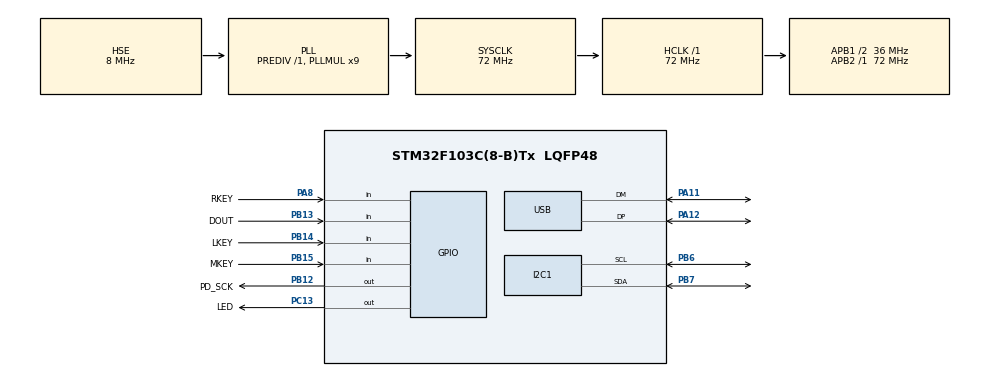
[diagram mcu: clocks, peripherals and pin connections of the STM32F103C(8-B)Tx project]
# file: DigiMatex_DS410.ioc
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I2C1.I2C_Mode=I2C_Fast
Mcu.Family=STM32F1
Mcu.Name=STM32F103C(8-B)Tx
Mcu.Package=LQFP48
NVIC.PriorityGroup=NVIC_PRIORITYGROUP_4
NVIC.USB_LP_CAN1_RX0_IRQn=true\:0\:0\:false\:false\:true\:false\:true
PA11.Mode=Device
PA11.Signal=USB_DM
PA12.Mode=Device
PA12.Signal=USB_DP
PA13.Mode=Serial_Wire
PA13.Signal=SYS_JTMS-SWDIO
PA14.Mode=Serial_Wire
PA14.Signal=SYS_JTCK-SWCLK
PA8.GPIO_Label=RKEY
PA8.Signal=GPIO_Input
PB12.GPIO_Label=PD_SCK
PB12.Signal=GPIO_Output
PB13.GPIO_Label=DOUT
PB13.Signal=GPIO_Input
PB14.GPIO_Label=LKEY
PB14.Signal=GPIO_Input
PB15.GPIO_Label=MKEY
PB15.Signal=GPIO_Input
PB6.Mode=I2C
PB6.Signal=I2C1_SCL
PB7.Mode=I2C
PB7.Signal=I2C1_SDA
PC13-TAMPER-RTC.GPIO_Label=LED
PC13-TAMPER-RTC.PinState=GPIO_PIN_SET
PC13-TAMPER-RTC.Signal=GPIO_Output
PC14-OSC32_IN.Mode=LSE-External-Oscillator
PC14-OSC32_IN.Signal=RCC_OSC32_IN
PC15-OSC32_OUT.Mode=LSE-External-Oscillator
PC15-OSC32_OUT.Signal=RCC_OSC32_OUT
PD0-OSC_IN.Mode=HSE-External-Oscillator
PD0-OSC_IN.Signal=RCC_OSC_IN
PD1-OSC_OUT.Mode=HSE-External-Oscillator
PD1-OSC_OUT.Signal=RCC_OSC_OUT
ProjectManager.HeapSize=0x400
ProjectManager.StackSize=0x400
ProjectManager.TargetToolchain=STM32CubeIDE
RCC.AHBFreq_Value=72000000
RCC.APB1CLKDivider=RCC_HCLK_DIV2
RCC.APB1Freq_Value=36000000
RCC.APB1TimFreq_Value=72000000
RCC.APB2Freq_Value=72000000
RCC.APB2TimFreq_Value=72000000
RCC.HCLKFreq_Value=72000000
RCC.PLLMUL=RCC_PLL_MUL9
RCC.PLLSourceVirtual=RCC_PLLSOURCE_HSE
RCC.SYSCLKFreq_VALUE=72000000
RCC.SYSCLKSource=RCC_SYSCLKSOURCE_PLLCLK
RCC.USBFreq_Value=48000000
RCC.USBPrescaler=RCC_USBCLKSOURCE_PLL_DIV1_5
USB_DEVICE.CLASS_NAME_FS=CDC
USB_DEVICE.VirtualMode=Cdc
USB_DEVICE.VirtualModeFS=Cdc_FS
VP_USB_DEVICE_VS_USB_DEVICE_CDC_FS.Mode=CDC_FS
board=custom

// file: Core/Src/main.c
/* USER CODE BEGIN Header */
/**
 ******************************************************************************
 * @file           : main.c
 * @brief          : Main program body
 ******************************************************************************
 * @attention
 *
 * <h2><center>&copy; Copyright (c) 2020 STMicroelectronics.
 * All rights reserved.</center></h2>
 *
 * This software component is licensed by ST under BSD 3-Clause license,
 * the "License"; You may not use this file except in compliance with the
 * License. You may obtain a copy of the License at:
 *                        opensource.org/licenses/BSD-3-Clause
 *
 ******************************************************************************
 */
/* USER CODE END Header */

#include "main.h"
#include "i2c.h"
#include "usb_device.h"
#include "gpio.h"

/* USER CODE BEGIN Includes */
#include "stdio.h"
#include "stdbool.h"
#include "usbd_cdc_if.h"

#include "ssd1306.h"
#include "ssd1306_fonts.h"
#include "hx711.h"
#include "eeprom_24LC02B.h"

/* USER CODE END Includes */

/* USER CODE BEGIN PD */
#define STR_BUFFER_SIZE 10
#define BUFFER_SIZE	15

#define EEPROM_P1_VALUE_ADDR 	0
#define EEPROM_P1_ENG_ADDR		8
#define EEPROM_P2_VALUE_ADDR 	16
#define EEPROM_P2_ENG_ADDR		24

#define STR_ENDLINE 	"\r\n"

/* USER CODE END PD */

/* USER CODE BEGIN PM */
#define LED_OFF 		HAL_GPIO_WritePin(LED_GPIO_Port, LED_Pin, GPIO_PIN_SET)
#define LED_ON		HAL_GPIO_WritePin(LED_GPIO_Port, LED_Pin, GPIO_PIN_RESET)
#define LED_TOOGLE 	HAL_GPIO_Toggle(LED_GPIO_Port, LED_Pin)
#define LKEY_READ	HAL_GPIO_ReadPin(LKEY_GPIO_Port, LKEY_Pin)
#define MKEY_READ	HAL_GPIO_ReadPin(MKEY_GPIO_Port, MKEY_Pin)
#define RKEY_READ	HAL_GPIO_ReadPin(RKEY_GPIO_Port, RKEY_Pin)

#define PRINT_EOL	printf(STR_ENDLINE)

/* USER CODE END PM */

/* USER CODE BEGIN PV */
HX711_HandleTypeDef scale;
HX711_ScalingTypeDef transferFn;
char numStr[STR_BUFFER_SIZE];

uint32_t buffer[BUFFER_SIZE];

uint8_t UserRxBuffer[1000];
uint8_t cmdStr[1000];
uint8_t *cmdStrPt = cmdStr;
uint8_t stringComplete = false;
uint32_t serialAvalible = 0;

uint32_t p1 = 2;
uint32_t p2 = 500;

/* USER CODE END PV */

void SystemClock_Config(void);
/* USER CODE BEGIN PFP */
#define PUTCHAR_PROTOTYPE int __io_putchar(int ch)
void serialEvent(void);
void parse_cmd(void);

/* USER CODE END PFP */

int main(void) {

	/* MCU Configuration--------------------------------------------------------*/

	/* Reset of all peripherals, Initializes the Flash interface and the Systick. */
	HAL_Init();

	/* Configure the system clock */
	SystemClock_Config();

	/* Initialize all configured peripherals */
	MX_GPIO_Init();
	MX_I2C1_Init();
	MX_USB_DEVICE_Init();
	/* USER CODE BEGIN 2 */
	ssd1306_Init();

	HX711_Init(&scale, PD_SCK_GPIO_Port, PD_SCK_Pin, DOUT_GPIO_Port, DOUT_Pin, HX711_CH_A_GAIN_128);

	transferFn.p1_value = EEPROM_24LC02B_read_uint32(EEPROM_P1_VALUE_ADDR);
	transferFn.p1_eng = EEPROM_24LC02B_read_uint32(EEPROM_P1_ENG_ADDR);
	transferFn.p2_value = EEPROM_24LC02B_read_uint32(EEPROM_P2_VALUE_ADDR);
	transferFn.p2_eng = EEPROM_24LC02B_read_uint32(EEPROM_P2_ENG_ADDR);
	HX711_UpdateScaling(&transferFn);

	ssd1306_SetCursor(2, 0);
	ssd1306_WriteString("Tare", Font_7x10, White);
	ssd1306_UpdateScreen();

	HX711_Tare(&scale, 16);
	itoa(scale.offset, numStr, 10);
	ssd1306_SetCursor(2, 0);
	ssd1306_WriteString(numStr, Font_7x10, White);
	ssd1306_UpdateScreen();

	/* USER CODE END 2 */

	/* Infinite loop */
	while (1) {

		/* USER CODE BEGIN 3 */
		//serialEvent();
		parse_cmd();

		LED_ON;

		//num = HX711_Average(&scale, 4) - scale.offset;

		// Shift buffer over
		for (uint8_t i = 0; i < (BUFFER_SIZE - 1); i++) {
			buffer[i] = buffer[i + 1];
		}

		// add new value to end of buffer
		buffer[BUFFER_SIZE - 1] = HX711_Value(&scale);

		// average buffer
		uint32_t sum = 0;
		for (uint8_t i = 0; i < BUFFER_SIZE; i++) {
			sum += buffer[i];
		}

		uint32_t avg = sum / BUFFER_SIZE;

		int32_t grams = HX711_Calculate(&transferFn, avg) - HX711_Calculate(&transferFn, scale.offset);

		LED_OFF;

		ssd1306_SetCursor(2, 10);
		itoa(avg, numStr, 10);
		ssd1306_WriteString(numStr, Font_7x10, White);
		ssd1306_WriteString("    ", Font_7x10, White);

		/*		ssd1306_SetCursor(2, 10 + 10);
		 uint32_t num = avg - scale.offset;
		 itoa(num, numStr, 10);
		 ssd1306_WriteString(numStr, Font_11x18, White);
		 ssd1306_WriteString("    ", Font_11x18, White);*/

		ssd1306_SetCursor(2, 10 + 10 + 18);
		itoa(grams, numStr, 10);
		strcat(numStr, " g");
		ssd1306_WriteString(numStr, Font_11x18, White);
		ssd1306_WriteString("    ", Font_11x18, White);

		ssd1306_UpdateScreen();

		if (LKEY_READ == 0) {
			ssd1306_SetCursor(2, 0);
			ssd1306_WriteString("Tare    ", Font_7x10, White);
			ssd1306_UpdateScreen();

			HX711_Tare(&scale, 32);

			itoa(scale.offset, numStr, 10);
			ssd1306_SetCursor(2, 0);
			ssd1306_WriteString(numStr, Font_7x10, White);
			ssd1306_UpdateScreen();

			while (LKEY_READ == 0)
				;
		}

		if (MKEY_READ == 0) {
			ssd1306_SetCursor(2, 10 + 10 + 18);

			scale.gain++;

			if (scale.gain > 3) {
				scale.gain = 1;
			}

			itoa(scale.gain, numStr, 10);
			ssd1306_WriteString(numStr, Font_6x8, White);
			ssd1306_UpdateScreen();

			while (MKEY_READ == 0)
				;

		}
	}
	/* USER CODE END 3 */
}

void SystemClock_Config(void) {
	RCC_OscInitTypeDef RCC_OscInitStruct = { 0 };
	RCC_ClkInitTypeDef RCC_ClkInitStruct = { 0 };
	RCC_PeriphCLKInitTypeDef PeriphClkInit = { 0 };

	/** Initializes the CPU, AHB and APB busses clocks
	 */
	RCC_OscInitStruct.OscillatorType = RCC_OSCILLATORTYPE_HSE;
	RCC_OscInitStruct.HSEState = RCC_HSE_ON;
	RCC_OscInitStruct.HSEPredivValue = RCC_HSE_PREDIV_DIV1;
	RCC_OscInitStruct.HSIState = RCC_HSI_ON;
	RCC_OscInitStruct.PLL.PLLState = RCC_PLL_ON;
	RCC_OscInitStruct.PLL.PLLSource = RCC_PLLSOURCE_HSE;
	RCC_OscInitStruct.PLL.PLLMUL = RCC_PLL_MUL9;
	if (HAL_RCC_OscConfig(&RCC_OscInitStruct) != HAL_OK) {
		Error_Handler();
	}
	/** Initializes the CPU, AHB and APB busses clocks
	 */
	RCC_ClkInitStruct.ClockType = RCC_CLOCKTYPE_HCLK | RCC_CLOCKTYPE_SYSCLK | RCC_CLOCKTYPE_PCLK1 | RCC_CLOCKTYPE_PCLK2;
	RCC_ClkInitStruct.SYSCLKSource = RCC_SYSCLKSOURCE_PLLCLK;
	RCC_ClkInitStruct.AHBCLKDivider = RCC_SYSCLK_DIV1;
	RCC_ClkInitStruct.APB1CLKDivider = RCC_HCLK_DIV2;
	RCC_ClkInitStruct.APB2CLKDivider = RCC_HCLK_DIV1;

	if (HAL_RCC_ClockConfig(&RCC_ClkInitStruct, FLASH_LATENCY_2) != HAL_OK) {
		Error_Handler();
	}
	PeriphClkInit.PeriphClockSelection = RCC_PERIPHCLK_USB;
	PeriphClkInit.UsbClockSelection = RCC_USBCLKSOURCE_PLL_DIV1_5;
	if (HAL_RCCEx_PeriphCLKConfig(&PeriphClkInit) != HAL_OK) {
		Error_Handler();
	}
}

/* USER CODE BEGIN 4 */
PUTCHAR_PROTOTYPE {
	while (CDC_Transmit_FS((uint8_t*) &ch, 1) == USBD_BUSY)
		;

	return ch;
}

void serialEvent(void) {
	if (serialAvalible) {
		for (uint32_t i = 0; i < serialAvalible; i++) {
			if (UserRxBuffer[i] != '\r') {
				*cmdStrPt = UserRxBuffer[i];
				cmdStrPt++;
			}

			if (UserRxBuffer[i] == '\n') {
				stringComplete = true;
				cmdStrPt = cmdStr;
			}
		}
	}

	serialAvalible = 0;
}

void parse_cmd(void) {
	char *pt;

	if (stringComplete) {
		stringComplete = 0;

		if (cmdStr[0] == '?') {
			PRINT_EOL;
			printf("Possible Commands");
			PRINT_EOL;
			printf("P1? or P2? to get transfer function settings");
			PRINT_EOL;
			printf("P1=x to set value in grams");
			PRINT_EOL;
			printf("P2=x to set value in grams");
			PRINT_EOL;
		} else if ((cmdStr[0] == 'P') || (cmdStr[0] == 'p')) {
			if (cmdStr[1] == '1') {
				if (cmdStr[2] == '?') {
					printf("P1: value=%lu, eng=%lu", transferFn.p1_value, transferFn.p1_eng);
					PRINT_EOL;
				} else if (cmdStr[2] == '=') {
					pt = strchr((char*) cmdStr, '=');
					printf("P1 updating...");
					PRINT_EOL;
					transferFn.p1_eng = strtoul(pt + 1, NULL, 10);
					transferFn.p1_value = HX711_Average(&scale, 32);

					EEPROM_24LC02B_write_uint32(EEPROM_P1_ENG_ADDR, &transferFn.p1_eng);
					EEPROM_24LC02B_write_uint32(EEPROM_P1_VALUE_ADDR, &transferFn.p1_value);

					HX711_UpdateScaling(&transferFn);

					printf("\tvalue=%lu", transferFn.p1_value);
					PRINT_EOL;
					printf("\teng=%lu", transferFn.p1_eng);
					PRINT_EOL;
				} else {
					printf("invalid command!%s", STR_ENDLINE);
				}
			} else if (cmdStr[1] == '2') {
				if (cmdStr[2] == '?') {
					printf("P2: value=%lu, eng=%lu", transferFn.p2_value, transferFn.p2_eng);
					PRINT_EOL;
				} else if (cmdStr[2] == '=') {
					pt = strchr((char*) cmdStr, '=');
					printf("P2 updating...");
					PRINT_EOL;
					transferFn.p2_eng = strtoul(pt + 1, NULL, 10);
					transferFn.p2_value = HX711_Average(&scale, 32);

					EEPROM_24LC02B_write_uint32(EEPROM_P2_ENG_ADDR, &transferFn.p2_eng);
					EEPROM_24LC02B_write_uint32(EEPROM_P2_VALUE_ADDR, &transferFn.p2_value);

					HX711_UpdateScaling(&transferFn);

					printf("\tvalue=%lu", transferFn.p2_value);
					PRINT_EOL;
					printf("\teng=%lu", transferFn.p2_eng);
					PRINT_EOL;
				} else {
					printf("invalid command!%s", STR_ENDLINE);
				}
			}
		} else {
			printf("type ? for help\n\r");
		}
	}
}

/* USER CODE END 4 */

void Error_Handler(void) {
}

/************************ (C) COPYRIGHT STMicroelectronics *****END OF FILE****/
